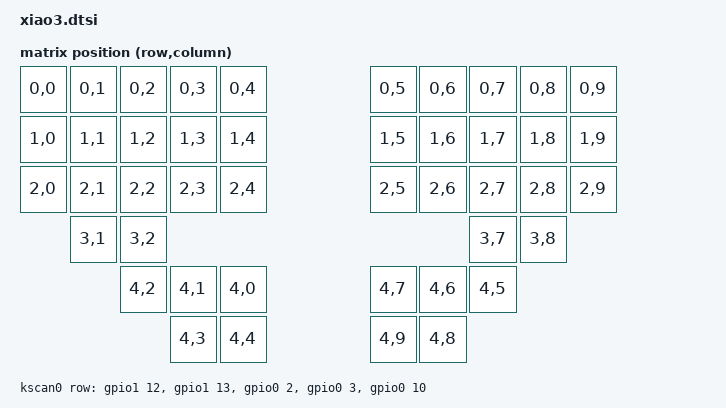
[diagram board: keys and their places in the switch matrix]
#include <dt-bindings/zmk/matrix_transform.h>

/ {
    chosen {
        zmk,kscan = &kscan0;
        zmk,matrix_transform = &default_transform;
    };

    vbatt: vbatt {
	compatible = "zmk,battery-nrf-vddh";
    };

    default_transform: keymap_transform_0 {
        compatible = "zmk,matrix-transform";
        columns = <10>;
        rows = <5>;
                                    
        map = <
RC(0,0) RC(0,1) RC(0,2) RC(0,3) RC(0,4)                  RC(0,5) RC(0,6) RC(0,7) RC(0,8) RC(0,9)
RC(1,0) RC(1,1) RC(1,2) RC(1,3) RC(1,4)                  RC(1,5) RC(1,6) RC(1,7) RC(1,8) RC(1,9)
RC(2,0) RC(2,1) RC(2,2) RC(2,3) RC(2,4)                  RC(2,5) RC(2,6) RC(2,7) RC(2,8) RC(2,9)
        RC(3,1) RC(3,2)                                                  RC(3,7) RC(3,8)
                RC(4,2) RC(4,1) RC(4,0)                  RC(4,7) RC(4,6) RC(4,5)
                        RC(4,3) RC(4,4)                  RC(4,9) RC(4,8)        


        >;
    };

    kscan0: kscan_0 {
        compatible = "zmk,kscan-gpio-matrix";

        diode-direction = "col2row";
        row-gpios
            = <&gpio1 12 (GPIO_ACTIVE_HIGH | GPIO_PULL_DOWN)> //r1-7 1.12 1.13 0.02 0.03 0.28** 1.11** 0.10*thumbs
            , <&gpio1 13 (GPIO_ACTIVE_HIGH | GPIO_PULL_DOWN)> 
            , <&gpio0 2 (GPIO_ACTIVE_HIGH | GPIO_PULL_DOWN)> 
            , <&gpio0 3 (GPIO_ACTIVE_HIGH | GPIO_PULL_DOWN)> 
//            , <&gpio0 28 (GPIO_ACTIVE_HIGH | GPIO_PULL_DOWN)>
//            , <&gpio1 11 (GPIO_ACTIVE_HIGH | GPIO_PULL_DOWN)>
            , <&gpio0 10 (GPIO_ACTIVE_HIGH | GPIO_PULL_DOWN)>
            ;

    };
};
